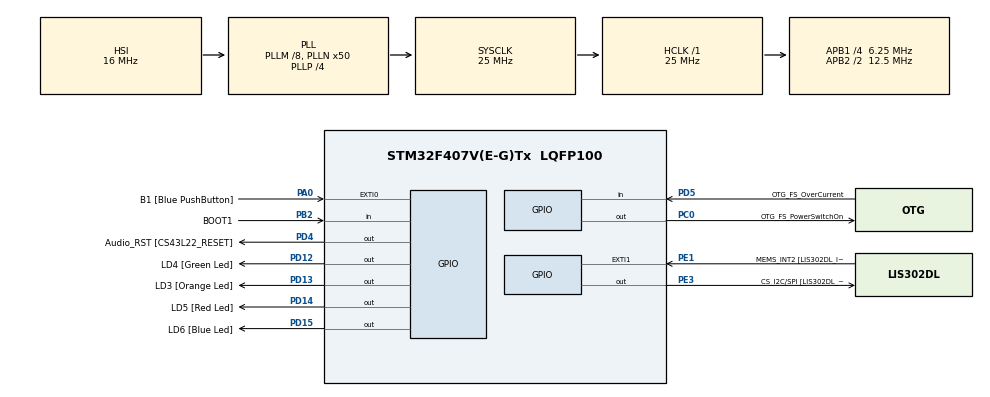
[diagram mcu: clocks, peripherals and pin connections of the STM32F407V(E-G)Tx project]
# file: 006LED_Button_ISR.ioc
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Mcu.Family=STM32F4
Mcu.Name=STM32F407V(E-G)Tx
Mcu.Package=LQFP100
NVIC.EXTI0_IRQn=true\:6\:0\:true\:false\:true\:true\:true\:true
NVIC.PriorityGroup=NVIC_PRIORITYGROUP_4
NVIC.TIM6_DAC_IRQn=true\:15\:0\:false\:false\:true\:false\:true\:true
NVIC.TimeBase=TIM6_DAC_IRQn
NVIC.TimeBaseIP=TIM6
PA0-WKUP.GPIO_Label=B1 [Blue PushButton]
PA0-WKUP.GPIO_ModeDefaultEXTI=GPIO_MODE_IT_FALLING
PA0-WKUP.Signal=GPXTI0
PA10.GPIO_Label=OTG_FS_ID
PA10.GPIO_Mode=GPIO_MODE_AF_PP
PA10.GPIO_PuPd=GPIO_NOPULL
PA10.GPIO_Speed=GPIO_SPEED_FREQ_LOW
PA10.Signal=USB_OTG_FS_ID
PA11.GPIO_Label=OTG_FS_DM
PA11.GPIO_Mode=GPIO_MODE_AF_PP
PA11.GPIO_PuPd=GPIO_NOPULL
PA11.GPIO_Speed=GPIO_SPEED_FREQ_LOW
PA11.Signal=USB_OTG_FS_DM
PA12.GPIO_Label=OTG_FS_DP
PA12.GPIO_Mode=GPIO_MODE_AF_PP
PA12.GPIO_PuPd=GPIO_NOPULL
PA12.GPIO_Speed=GPIO_SPEED_FREQ_LOW
PA12.Signal=USB_OTG_FS_DP
PA13.GPIO_Label=SWDIO
PA13.Signal=SYS_JTMS-SWDIO
PA14.GPIO_Label=SWCLK
PA14.Signal=SYS_JTCK-SWCLK
PA4.GPIO_Label=I2S3_WS [CS43L22_LRCK]
PA4.GPIO_Mode=GPIO_MODE_AF_PP
PA4.GPIO_PuPd=GPIO_NOPULL
PA4.GPIO_Speed=GPIO_SPEED_FREQ_LOW
PA4.Signal=I2S3_WS
PA5.GPIO_Label=SPI1_SCK [LIS302DL_SCL/SPC]
PA5.GPIO_Mode=GPIO_MODE_AF_PP
PA5.GPIO_PuPd=GPIO_NOPULL
PA5.GPIO_Speed=GPIO_SPEED_FREQ_LOW
PA5.Signal=SPI1_SCK
PA6.GPIO_Label=SPI1_MISO [LIS302DL_SDO]
PA6.GPIO_Mode=GPIO_MODE_AF_PP
PA6.GPIO_PuPd=GPIO_NOPULL
PA6.GPIO_Speed=GPIO_SPEED_FREQ_LOW
PA6.Signal=SPI1_MISO
PA7.GPIO_Label=SPI1_MOSI [LIS302DL_SDA/SDI/SDO]
PA7.GPIO_Mode=GPIO_MODE_AF_PP
PA7.GPIO_PuPd=GPIO_NOPULL
PA7.GPIO_Speed=GPIO_SPEED_FREQ_LOW
PA7.Signal=SPI1_MOSI
PA9.GPIO_Label=VBUS_FS
PA9.GPIO_Mode=GPIO_MODE_INPUT
PA9.GPIO_PuPd=GPIO_NOPULL
PA9.Signal=USB_OTG_FS_VBUS
PB10.GPIO_Label=CLK_IN [MP45DT02_CLK]
PB10.GPIO_Mode=GPIO_MODE_AF_PP
PB10.GPIO_PuPd=GPIO_NOPULL
PB10.GPIO_Speed=GPIO_SPEED_FREQ_LOW
PB10.Signal=I2S2_CK
PB2.GPIO_Label=BOOT1
PB2.GPIO_Mode=GPIO_MODE_INPUT
PB2.GPIO_PuPd=GPIO_NOPULL
PB2.Signal=GPIO_Input
PB3.GPIO_Label=SWO
PB3.Signal=SYS_JTDO-SWO
PB6.GPIO_Label=Audio_SCL [CS43L22_SCL]
PB6.GPIO_Mode=GPIO_MODE_AF_OD
PB6.GPIO_PuPd=GPIO_NOPULL
PB6.GPIO_Speed=GPIO_SPEED_FREQ_LOW
PB6.Signal=I2C1_SCL
PB9.GPIO_Label=Audio_SDA [CS43L22_SDA]
PB9.GPIO_Mode=GPIO_MODE_AF_OD
PB9.GPIO_PuPd=GPIO_NOPULL
PB9.GPIO_Speed=GPIO_SPEED_FREQ_LOW
PB9.Signal=I2C1_SDA
PC0.GPIO_Label=OTG_FS_PowerSwitchOn
PC0.GPIO_PuPd=GPIO_NOPULL
PC0.GPIO_Speed=GPIO_SPEED_FREQ_LOW
PC0.PinState=GPIO_PIN_SET
PC0.Signal=GPIO_Output
PC10.GPIO_Label=I2S3_SCK [CS43L22_SCLK]
PC10.GPIO_Mode=GPIO_MODE_AF_PP
PC10.GPIO_PuPd=GPIO_NOPULL
PC10.GPIO_Speed=GPIO_SPEED_FREQ_LOW
PC10.Signal=I2S3_CK
PC12.GPIO_Label=I2S3_SD [CS43L22_SDIN]
PC12.GPIO_Mode=GPIO_MODE_AF_PP
PC12.GPIO_PuPd=GPIO_NOPULL
PC12.GPIO_Speed=GPIO_SPEED_FREQ_LOW
PC12.Signal=I2S3_SD
PC14-OSC32_IN.GPIO_Label=PC14-OSC32_IN
PC14-OSC32_IN.Signal=RCC_OSC32_IN
PC15-OSC32_OUT.GPIO_Label=PC15-OSC32_OUT
PC15-OSC32_OUT.Signal=RCC_OSC32_OUT
PC3.GPIO_Label=PDM_OUT [MP45DT02_DOUT]
PC3.GPIO_Mode=GPIO_MODE_AF_PP
PC3.GPIO_PuPd=GPIO_NOPULL
PC3.GPIO_Speed=GPIO_SPEED_FREQ_LOW
PC3.Signal=I2S2_SD
PC7.GPIO_Label=I2S3_MCK [CS43L22_MCLK]
PC7.GPIO_Mode=GPIO_MODE_AF_PP
PC7.GPIO_PuPd=GPIO_NOPULL
PC7.GPIO_Speed=GPIO_SPEED_FREQ_LOW
PC7.Signal=I2S3_MCK
PD12.GPIO_Label=LD4 [Green Led]
PD12.GPIO_PuPd=GPIO_NOPULL
PD12.GPIO_Speed=GPIO_SPEED_FREQ_LOW
PD12.Signal=GPIO_Output
PD13.GPIO_Label=LD3 [Orange Led]
PD13.GPIO_PuPd=GPIO_NOPULL
PD13.GPIO_Speed=GPIO_SPEED_FREQ_LOW
PD13.Signal=GPIO_Output
PD14.GPIO_Label=LD5 [Red Led]
PD14.GPIO_PuPd=GPIO_NOPULL
PD14.GPIO_Speed=GPIO_SPEED_FREQ_LOW
PD14.Signal=GPIO_Output
PD15.GPIO_Label=LD6 [Blue Led]
PD15.GPIO_PuPd=GPIO_NOPULL
PD15.GPIO_Speed=GPIO_SPEED_FREQ_LOW
PD15.Signal=GPIO_Output
PD4.GPIO_Label=Audio_RST [CS43L22_RESET]
PD4.GPIO_PuPd=GPIO_NOPULL
PD4.GPIO_Speed=GPIO_SPEED_FREQ_LOW
PD4.Signal=GPIO_Output
PD5.GPIO_Label=OTG_FS_OverCurrent
PD5.GPIO_Mode=GPIO_MODE_INPUT
PD5.GPIO_PuPd=GPIO_NOPULL
PD5.Signal=GPIO_Input
PE1.GPIO_Label=MEMS_INT2 [LIS302DL_INT2]
PE1.GPIO_ModeDefaultEXTI=GPIO_MODE_EVT_RISING
PE1.GPIO_PuPd=GPIO_NOPULL
PE1.Signal=GPXTI1
PE3.GPIO_Label=CS_I2C/SPI [LIS302DL_CS_I2C/SPI]
PE3.GPIO_PuPd=GPIO_NOPULL
PE3.GPIO_Speed=GPIO_SPEED_FREQ_LOW
PE3.Signal=GPIO_Output
PH0-OSC_IN.GPIO_Label=PH0-OSC_IN
PH0-OSC_IN.Signal=RCC_OSC_IN
PH1-OSC_OUT.GPIO_Label=PH1-OSC_OUT
PH1-OSC_OUT.Signal=RCC_OSC_OUT
ProjectManager.HeapSize=0x200
ProjectManager.StackSize=0x400
ProjectManager.TargetToolchain=STM32CubeIDE
RCC.48MHZClocksFreq_Value=14285714.285714285
RCC.AHBFreq_Value=25000000
RCC.APB1CLKDivider=RCC_HCLK_DIV4
RCC.APB1Freq_Value=6250000
RCC.APB1TimFreq_Value=12500000
RCC.APB2CLKDivider=RCC_HCLK_DIV2
RCC.APB2Freq_Value=12500000
RCC.APB2TimFreq_Value=25000000
RCC.CortexFreq_Value=25000000
RCC.HCLKFreq_Value=25000000
RCC.HSE_VALUE=8000000
RCC.HSI_VALUE=16000000
RCC.LSE_VALUE=32768
RCC.PLLM=8
RCC.PLLN=50
RCC.PLLP=RCC_PLLP_DIV4
RCC.PLLQ=7
RCC.SYSCLKFreq_VALUE=25000000
RCC.SYSCLKSource=RCC_SYSCLKSOURCE_PLLCLK
RCC.VCOOutputFreq_Value=100000000
VP_SYS_VS_tim6.Mode=TIM6
board=STM32F407G-DISC1

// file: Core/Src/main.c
/* USER CODE BEGIN Header */
/**
  ******************************************************************************
  * @file           : main.c
  * @brief          : Main program body
  ******************************************************************************
  * @attention
  *
  * Copyright (c) 2025 STMicroelectronics.
  * All rights reserved.
  *
  * This software is licensed under terms that can be found in the LICENSE file
  * in the root directory of this software component.
  * If no LICENSE file comes with this software, it is provided AS-IS.
  *
  ******************************************************************************
  */
/* USER CODE END Header */
#include "main.h"

/* USER CODE BEGIN Includes */

#include <stdio.h>
#include "FreeRTOS.h"
#include "task.h"

/* USER CODE END Includes */

/* USER CODE BEGIN PV */

#define DWT_CTRL    (*(volatile uint32_t*)0xE0001000)
uint8_t ucHeap[ configTOTAL_HEAP_SIZE ];

/* USER CODE END PV */

void SystemClock_Config(void);
static void MX_GPIO_Init(void);

/* USER CODE BEGIN 0 */

static void led_green_handler(void* parameters);
static void led_orange_handler(void* parameters);
static void led_red_handler(void* parameters);
static void button_handler(void* parameters);

TaskHandle_t ledg_handle;
TaskHandle_t ledo_handle;
TaskHandle_t ledr_handle;
TaskHandle_t btn_task_handle;
TaskHandle_t volatile next_task_handle = NULL;

/* USER CODE END 0 */

int main(void)
{

  /* USER CODE BEGIN 1 */

	BaseType_t status;

  /* USER CODE END 1 */

  /* MCU Configuration--------------------------------------------------------*/

  /* Reset of all peripherals, Initializes the Flash interface and the Systick. */
  HAL_Init();

  /* Configure the system clock */
  SystemClock_Config();

  /* Initialize all configured peripherals */
  MX_GPIO_Init();
  /* USER CODE BEGIN 2 */

  //Enable the CYCCNT counter.
  DWT_CTRL |= ( 1 << 0);

  //SEGGER_UART_init(500000);

  SEGGER_SYSVIEW_Conf();

  SEGGER_SYSVIEW_Start();

  //  Priority : Button > green > orange > red

  status = xTaskCreate(led_green_handler, "LED green Task", 200, NULL, 3, &ledg_handle); // LD4

  configASSERT(status == pdPASS);
  next_task_handle = ledg_handle;

  status = xTaskCreate(led_red_handler, "LED red Task", 200, NULL, 1, &ledr_handle); // LD5

  configASSERT(status == pdPASS);

  status = xTaskCreate(led_orange_handler, "LED orange Task", 200, NULL, 2, &ledo_handle); // LD3

  configASSERT(status == pdPASS);

  status = xTaskCreate(button_handler, "Button Task", 200, NULL, 4, &btn_task_handle);

  configASSERT(status == pdPASS);

  //start the freeRTOS scheduler
  vTaskStartScheduler();

  /* USER CODE END 2 */

  /* Infinite loop */
  while (1)
  {

  }
}

void SystemClock_Config(void)
{
  RCC_OscInitTypeDef RCC_OscInitStruct = {0};
  RCC_ClkInitTypeDef RCC_ClkInitStruct = {0};

  /** Configure the main internal regulator output voltage
  */
  __HAL_RCC_PWR_CLK_ENABLE();
  __HAL_PWR_VOLTAGESCALING_CONFIG(PWR_REGULATOR_VOLTAGE_SCALE1);

  /** Initializes the RCC Oscillators according to the specified parameters
  * in the RCC_OscInitTypeDef structure.
  */
  RCC_OscInitStruct.OscillatorType = RCC_OSCILLATORTYPE_HSI;
  RCC_OscInitStruct.HSIState = RCC_HSI_ON;
  RCC_OscInitStruct.HSICalibrationValue = RCC_HSICALIBRATION_DEFAULT;
  RCC_OscInitStruct.PLL.PLLState = RCC_PLL_ON;
  RCC_OscInitStruct.PLL.PLLSource = RCC_PLLSOURCE_HSI;
  RCC_OscInitStruct.PLL.PLLM = 8;
  RCC_OscInitStruct.PLL.PLLN = 50;
  RCC_OscInitStruct.PLL.PLLP = RCC_PLLP_DIV4;
  RCC_OscInitStruct.PLL.PLLQ = 7;
  if (HAL_RCC_OscConfig(&RCC_OscInitStruct) != HAL_OK)
  {
    Error_Handler();
  }

  /** Initializes the CPU, AHB and APB buses clocks
  */
  RCC_ClkInitStruct.ClockType = RCC_CLOCKTYPE_HCLK|RCC_CLOCKTYPE_SYSCLK
                              |RCC_CLOCKTYPE_PCLK1|RCC_CLOCKTYPE_PCLK2;
  RCC_ClkInitStruct.SYSCLKSource = RCC_SYSCLKSOURCE_PLLCLK;
  RCC_ClkInitStruct.AHBCLKDivider = RCC_SYSCLK_DIV1;
  RCC_ClkInitStruct.APB1CLKDivider = RCC_HCLK_DIV4;
  RCC_ClkInitStruct.APB2CLKDivider = RCC_HCLK_DIV2;

  if (HAL_RCC_ClockConfig(&RCC_ClkInitStruct, FLASH_LATENCY_0) != HAL_OK)
  {
    Error_Handler();
  }
}

static void MX_GPIO_Init(void)
{
  GPIO_InitTypeDef GPIO_InitStruct = {0};

  /* GPIO Ports Clock Enable */
  __HAL_RCC_GPIOE_CLK_ENABLE();
  __HAL_RCC_GPIOC_CLK_ENABLE();
  __HAL_RCC_GPIOH_CLK_ENABLE();
  __HAL_RCC_GPIOA_CLK_ENABLE();
  __HAL_RCC_GPIOB_CLK_ENABLE();
  __HAL_RCC_GPIOD_CLK_ENABLE();

  /*Configure GPIO pin Output Level */
  HAL_GPIO_WritePin(CS_I2C_SPI_GPIO_Port, CS_I2C_SPI_Pin, GPIO_PIN_RESET);

  /*Configure GPIO pin Output Level */
  HAL_GPIO_WritePin(OTG_FS_PowerSwitchOn_GPIO_Port, OTG_FS_PowerSwitchOn_Pin, GPIO_PIN_SET);

  /*Configure GPIO pin Output Level */
  HAL_GPIO_WritePin(GPIOD, LD4_Pin|LD3_Pin|LD5_Pin|LD6_Pin
                          |Audio_RST_Pin, GPIO_PIN_RESET);

  /*Configure GPIO pin : CS_I2C_SPI_Pin */
  GPIO_InitStruct.Pin = CS_I2C_SPI_Pin;
  GPIO_InitStruct.Mode = GPIO_MODE_OUTPUT_PP;
  GPIO_InitStruct.Pull = GPIO_NOPULL;
  GPIO_InitStruct.Speed = GPIO_SPEED_FREQ_LOW;
  HAL_GPIO_Init(CS_I2C_SPI_GPIO_Port, &GPIO_InitStruct);

  /*Configure GPIO pin : OTG_FS_PowerSwitchOn_Pin */
  GPIO_InitStruct.Pin = OTG_FS_PowerSwitchOn_Pin;
  GPIO_InitStruct.Mode = GPIO_MODE_OUTPUT_PP;
  GPIO_InitStruct.Pull = GPIO_NOPULL;
  GPIO_InitStruct.Speed = GPIO_SPEED_FREQ_LOW;
  HAL_GPIO_Init(OTG_FS_PowerSwitchOn_GPIO_Port, &GPIO_InitStruct);

  /*Configure GPIO pin : PDM_OUT_Pin */
  GPIO_InitStruct.Pin = PDM_OUT_Pin;
  GPIO_InitStruct.Mode = GPIO_MODE_AF_PP;
  GPIO_InitStruct.Pull = GPIO_NOPULL;
  GPIO_InitStruct.Speed = GPIO_SPEED_FREQ_LOW;
  GPIO_InitStruct.Alternate = GPIO_AF5_SPI2;
  HAL_GPIO_Init(PDM_OUT_GPIO_Port, &GPIO_InitStruct);

  /*Configure GPIO pin : B1_Pin */
  GPIO_InitStruct.Pin = B1_Pin;
  GPIO_InitStruct.Mode = GPIO_MODE_IT_FALLING;
  GPIO_InitStruct.Pull = GPIO_NOPULL;
  HAL_GPIO_Init(B1_GPIO_Port, &GPIO_InitStruct);

  /*Configure GPIO pin : I2S3_WS_Pin */
  GPIO_InitStruct.Pin = I2S3_WS_Pin;
  GPIO_InitStruct.Mode = GPIO_MODE_AF_PP;
  GPIO_InitStruct.Pull = GPIO_NOPULL;
  GPIO_InitStruct.Speed = GPIO_SPEED_FREQ_LOW;
  GPIO_InitStruct.Alternate = GPIO_AF6_SPI3;
  HAL_GPIO_Init(I2S3_WS_GPIO_Port, &GPIO_InitStruct);

  /*Configure GPIO pins : SPI1_SCK_Pin SPI1_MISO_Pin SPI1_MOSI_Pin */
  GPIO_InitStruct.Pin = SPI1_SCK_Pin|SPI1_MISO_Pin|SPI1_MOSI_Pin;
  GPIO_InitStruct.Mode = GPIO_MODE_AF_PP;
  GPIO_InitStruct.Pull = GPIO_NOPULL;
  GPIO_InitStruct.Speed = GPIO_SPEED_FREQ_LOW;
  GPIO_InitStruct.Alternate = GPIO_AF5_SPI1;
  HAL_GPIO_Init(GPIOA, &GPIO_InitStruct);

  /*Configure GPIO pin : BOOT1_Pin */
  GPIO_InitStruct.Pin = BOOT1_Pin;
  GPIO_InitStruct.Mode = GPIO_MODE_INPUT;
  GPIO_InitStruct.Pull = GPIO_NOPULL;
  HAL_GPIO_Init(BOOT1_GPIO_Port, &GPIO_InitStruct);

  /*Configure GPIO pin : CLK_IN_Pin */
  GPIO_InitStruct.Pin = CLK_IN_Pin;
  GPIO_InitStruct.Mode = GPIO_MODE_AF_PP;
  GPIO_InitStruct.Pull = GPIO_NOPULL;
  GPIO_InitStruct.Speed = GPIO_SPEED_FREQ_LOW;
  GPIO_InitStruct.Alternate = GPIO_AF5_SPI2;
  HAL_GPIO_Init(CLK_IN_GPIO_Port, &GPIO_InitStruct);

  /*Configure GPIO pins : LD4_Pin LD3_Pin LD5_Pin LD6_Pin
                           Audio_RST_Pin */
  GPIO_InitStruct.Pin = LD4_Pin|LD3_Pin|LD5_Pin|LD6_Pin
                          |Audio_RST_Pin;
  GPIO_InitStruct.Mode = GPIO_MODE_OUTPUT_PP;
  GPIO_InitStruct.Pull = GPIO_NOPULL;
  GPIO_InitStruct.Speed = GPIO_SPEED_FREQ_LOW;
  HAL_GPIO_Init(GPIOD, &GPIO_InitStruct);

  /*Configure GPIO pins : I2S3_MCK_Pin I2S3_SCK_Pin I2S3_SD_Pin */
  GPIO_InitStruct.Pin = I2S3_MCK_Pin|I2S3_SCK_Pin|I2S3_SD_Pin;
  GPIO_InitStruct.Mode = GPIO_MODE_AF_PP;
  GPIO_InitStruct.Pull = GPIO_NOPULL;
  GPIO_InitStruct.Speed = GPIO_SPEED_FREQ_LOW;
  GPIO_InitStruct.Alternate = GPIO_AF6_SPI3;
  HAL_GPIO_Init(GPIOC, &GPIO_InitStruct);

  /*Configure GPIO pin : VBUS_FS_Pin */
  GPIO_InitStruct.Pin = VBUS_FS_Pin;
  GPIO_InitStruct.Mode = GPIO_MODE_INPUT;
  GPIO_InitStruct.Pull = GPIO_NOPULL;
  HAL_GPIO_Init(VBUS_FS_GPIO_Port, &GPIO_InitStruct);

  /*Configure GPIO pins : OTG_FS_ID_Pin OTG_FS_DM_Pin OTG_FS_DP_Pin */
  GPIO_InitStruct.Pin = OTG_FS_ID_Pin|OTG_FS_DM_Pin|OTG_FS_DP_Pin;
  GPIO_InitStruct.Mode = GPIO_MODE_AF_PP;
  GPIO_InitStruct.Pull = GPIO_NOPULL;
  GPIO_InitStruct.Speed = GPIO_SPEED_FREQ_LOW;
  GPIO_InitStruct.Alternate = GPIO_AF10_OTG_FS;
  HAL_GPIO_Init(GPIOA, &GPIO_InitStruct);

  /*Configure GPIO pin : OTG_FS_OverCurrent_Pin */
  GPIO_InitStruct.Pin = OTG_FS_OverCurrent_Pin;
  GPIO_InitStruct.Mode = GPIO_MODE_INPUT;
  GPIO_InitStruct.Pull = GPIO_NOPULL;
  HAL_GPIO_Init(OTG_FS_OverCurrent_GPIO_Port, &GPIO_InitStruct);

  /*Configure GPIO pins : Audio_SCL_Pin Audio_SDA_Pin */
  GPIO_InitStruct.Pin = Audio_SCL_Pin|Audio_SDA_Pin;
  GPIO_InitStruct.Mode = GPIO_MODE_AF_OD;
  GPIO_InitStruct.Pull = GPIO_NOPULL;
  GPIO_InitStruct.Speed = GPIO_SPEED_FREQ_LOW;
  GPIO_InitStruct.Alternate = GPIO_AF4_I2C1;
  HAL_GPIO_Init(GPIOB, &GPIO_InitStruct);

  /*Configure GPIO pin : MEMS_INT2_Pin */
  GPIO_InitStruct.Pin = MEMS_INT2_Pin;
  GPIO_InitStruct.Mode = GPIO_MODE_EVT_RISING;
  GPIO_InitStruct.Pull = GPIO_NOPULL;
  HAL_GPIO_Init(MEMS_INT2_GPIO_Port, &GPIO_InitStruct);

  /* EXTI interrupt init*/
  HAL_NVIC_SetPriority(EXTI0_IRQn, 6, 0);
  HAL_NVIC_EnableIRQ(EXTI0_IRQn);

}

/* USER CODE BEGIN 4 */

void button_interrupt_handler(void* parameters){
	traceISR_ENTER();
	xTaskNotifyFromISR(next_task_handle, 0, eNoAction, NULL);
	traceISR_EXIT();
}

static void led_green_handler(void* parameters){
	BaseType_t status;

	while(1){
		HAL_GPIO_TogglePin(GPIOD, LED_GREEN_PIN);
		//HAL_Delay(1000);
		//vTaskDelay(pdMS_TO_TICKS(1000));

		status = xTaskNotifyWait(0, 0, NULL, pdMS_TO_TICKS(1000));
		if(status==pdTRUE){

			portENTER_CRITICAL();
			next_task_handle = ledo_handle;
			HAL_GPIO_WritePin(GPIOD, LED_GREEN_PIN, GPIO_PIN_SET);
			portEXIT_CRITICAL();

			vTaskDelete(NULL);
		}
	}
}

static void led_orange_handler(void* parameters){
	BaseType_t status;

	while(1){
		HAL_GPIO_TogglePin(GPIOD, LED_ORANGE_PIN);
		//HAL_Delay(800);
		//vTaskDelay(pdMS_TO_TICKS(800));

		status = xTaskNotifyWait(0, 0, NULL, pdMS_TO_TICKS(800));
		if(status==pdTRUE){

			portENTER_CRITICAL();
			next_task_handle = ledr_handle;
			HAL_GPIO_WritePin(GPIOD, LED_ORANGE_PIN, GPIO_PIN_SET);
			portEXIT_CRITICAL();

			vTaskDelete(NULL);
		}
	}
}

static void led_red_handler(void* parameters){
	BaseType_t status;

	while(1){
		HAL_GPIO_TogglePin(GPIOD, LED_RED_PIN);
		//HAL_Delay(400);
		//vTaskDelay(pdMS_TO_TICKS(400));

		status = xTaskNotifyWait(0, 0, NULL, pdMS_TO_TICKS(400));
		if(status==pdTRUE){

			portENTER_CRITICAL();
			next_task_handle = NULL;
			HAL_GPIO_WritePin(GPIOD, LED_RED_PIN, GPIO_PIN_SET);
			portEXIT_CRITICAL();
			vTaskDelete(btn_task_handle);
			vTaskDelete(NULL);

		}
	}
}

static void button_handler(void* parameters){
	uint8_t btn_read = 0;
	uint8_t prev_read = 0;
	while(1){
		btn_read = HAL_GPIO_ReadPin(GPIOA, GPIO_PIN_0);

		if(btn_read){
			if(!prev_read){
				xTaskNotify(next_task_handle, 0, eNoAction);
			}
		}
		prev_read = btn_read;
		vTaskDelay(pdMS_TO_TICKS(10));
	}
}

/* USER CODE END 4 */

void HAL_TIM_PeriodElapsedCallback(TIM_HandleTypeDef *htim)
{
  if (htim->Instance == TIM6)
  {
    HAL_IncTick();
  }
}

void Error_Handler(void)
{
  __disable_irq();
  while (1)
  {
  }
}
